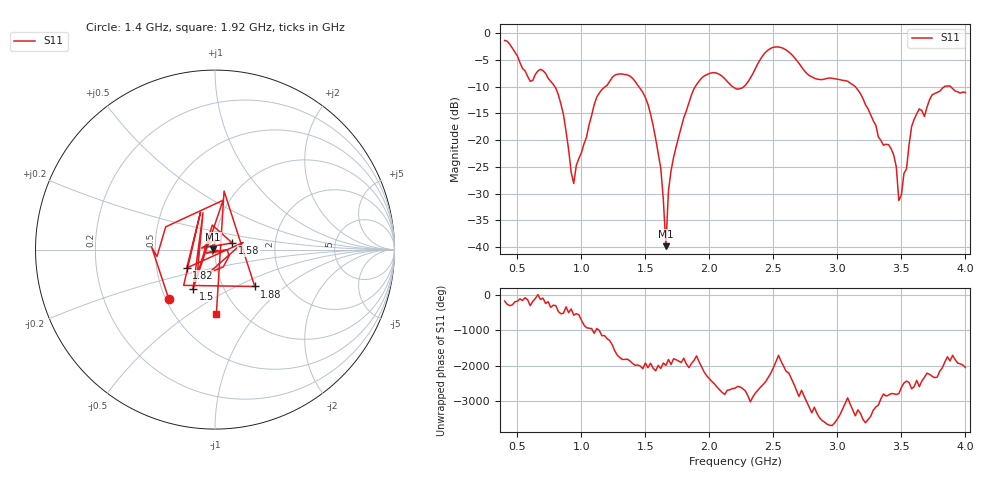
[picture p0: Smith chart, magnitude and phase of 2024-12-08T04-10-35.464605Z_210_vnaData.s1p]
!Created with skrf (http://scikit-rf.org).
# Hz S RI R 50.0
!freq ReS11 ImS11
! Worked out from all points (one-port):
!   181 points, 400 MHz to 4 GHz, reference 50 ohm
!   lowest |S11| = -39.8 dB at 1.66 GHz (marker M1), VSWR 1.02, Z = 49 + j0.0924 ohm
!   |S11| at or under -10 dB: 791.9 MHz to 1.187 GHz (395.6 MHz wide, 40 % of centre); 1.448 GHz to 1.89 GHz (442.4 MHz wide, 26.5 % of centre); 3.139 GHz to 3.836 GHz (696.9 MHz wide, 20 % of centre) (the widest 3 of 5)
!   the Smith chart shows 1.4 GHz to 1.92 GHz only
!   S11 on the Smith chart (normalised r, x): 1.4 GHz: 0.52, -0.33; 1.5 GHz: 0.72, -0.33; 1.58 GHz: 1.21, +0.09; 1.82 GHz: 0.71, -0.15; 1.88 GHz: 1.40, -0.63; 1.92 GHz: 0.78, -0.64
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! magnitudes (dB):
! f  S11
! 400 MHz  -1.4
! 600 MHz  -9.0
! 720 MHz  -7.5
! 860 MHz  -15.2
! 940 MHz  -28.1
! 1.12 GHz  -12.0
! 1.3 GHz  -7.6
! 1.4 GHz  -8.5
! 1.5 GHz  -12.1
! 1.58 GHz  -19.7
! 1.62 GHz  -25.3
! 1.66 GHz  -39.8
! 1.68 GHz  -29.5
! 1.76 GHz  -19.4
! 1.82 GHz  -14.5
! 1.88 GHz  -10.4
! 1.92 GHz  -9.0
! 2.2 GHz  -10.3
! 2.48 GHz  -2.8
! 2.66 GHz  -4.5
! 3.1 GHz  -9.3
! 3.42 GHz  -21.6
! 3.46 GHz  -25.0
! 3.48 GHz  -31.3
! 3.56 GHz  -20.9
! 3.62 GHz  -15.1
! 3.74 GHz  -11.5
! 4 GHz  -11.1
